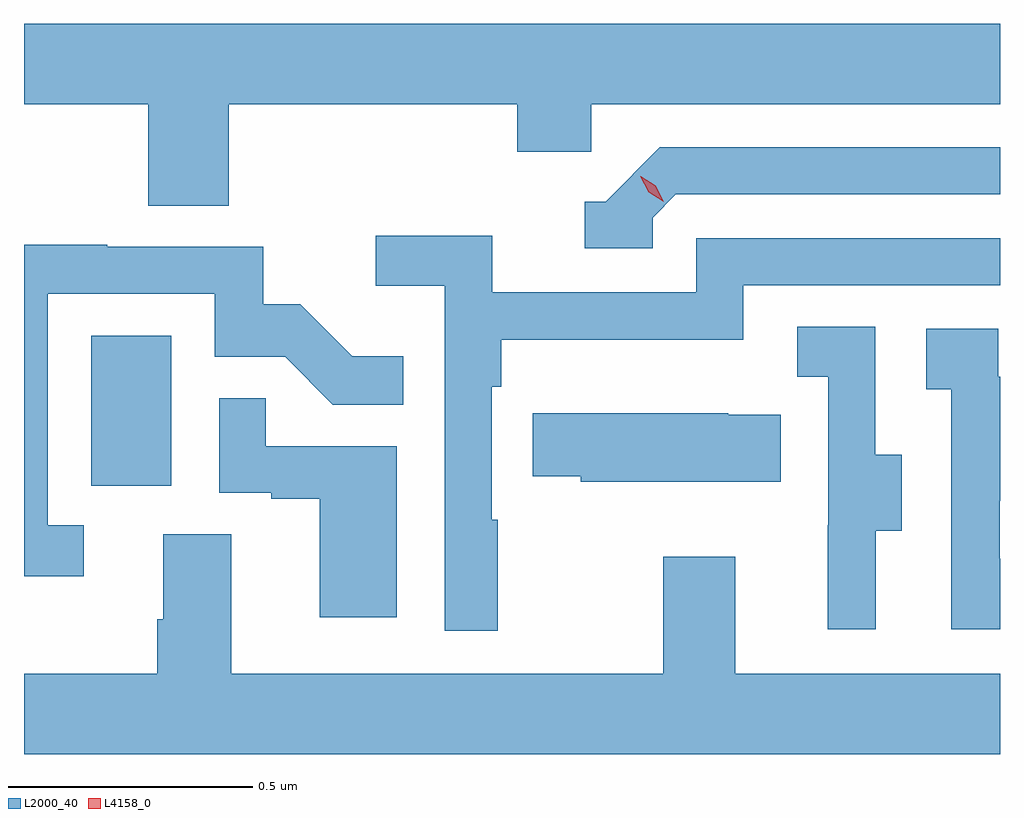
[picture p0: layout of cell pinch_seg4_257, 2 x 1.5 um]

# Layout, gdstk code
import gdstk
lib = gdstk.Library(unit=1e-6, precision=1e-09)
def R(c, l, rs):  # rectangles x0, y0, x1, y1
    for r in rs: c.add(gdstk.rectangle(r[:2], r[2:], *l))
def P(c, l, *ps):  # polygons
    for p in ps: c.add(gdstk.Polygon(p, *l))
L2000_40 = (2000, 40)
L4158_0 = (4158, 0)

pinch_seg4_257 = lib.new_cell('pinch_seg4_257')
R(pinch_seg4_257, L2000_40, [(951.422,817.35,951.586,817.657)])
P(pinch_seg4_257, L2000_40, [(951.704,818.132),(952.295,818.132),(952.295,818.034),(952.446,818.034),(952.446,818.132),(953.284,818.132),(953.284,818.296),(951.284,818.296),(951.284,818.132),(951.539,818.132),(951.539,817.924),(951.704,817.924)],
  [(952.572,817.899),(952.62,817.947),(953.284,817.947),(953.284,818.043),(952.587,818.043),(952.476,817.932),(952.433,817.932),(952.433,817.836),(952.572,817.836)],
  [(952.255,817.28),(952.242,817.28),(952.242,817.553),(952.262,817.553),(952.262,817.649),(952.758,817.649),(952.758,817.761),(953.284,817.761),(953.284,817.857),(952.662,817.857),(952.662,817.746),(952.244,817.746),(952.244,817.862),(952.005,817.862),(952.005,817.76),(952.146,817.76),(952.146,817.053),(952.255,817.053)],
  [(951.406,817.269),(951.333,817.269),(951.333,817.743),(951.675,817.743),(951.675,817.614),(951.819,817.614),(951.917,817.516),(952.061,817.516),(952.061,817.615),(951.957,817.615),(951.85,817.722),(951.774,817.722),(951.774,817.839),(951.455,817.839),(951.455,817.844),(951.284,817.844),(951.284,817.164),(951.406,817.164)],
  [(953.029,817.258),(953.083,817.258),(953.083,817.413),(953.028,817.413),(953.028,817.676),(952.869,817.676),(952.869,817.573),(952.932,817.573),(952.932,817.269),(952.931,817.269),(952.931,817.056),(953.029,817.056)],
  [(953.284,817.2),(953.283,817.2),(953.283,817.319),(953.284,817.319),(953.284,817.573),(953.28,817.573),(953.28,817.671),(953.133,817.671),(953.133,817.547),(953.184,817.547),(953.184,817.056),(953.284,817.056)],
  [(952.048,817.431),(951.779,817.431),(951.779,817.529),(951.684,817.529),(951.684,817.335),(951.791,817.335),(951.791,817.323),(951.89,817.323),(951.89,817.08),(952.048,817.08)],
  [(952.835,817.495),(952.727,817.495),(952.727,817.498),(952.327,817.498),(952.327,817.369),(952.425,817.369),(952.425,817.358),(952.835,817.358)],
  [(952.594,817.204),(952.594,816.964),(951.709,816.964),(951.709,817.25),(951.569,817.25),(951.569,817.076),(951.557,817.076),(951.557,816.964),(951.284,816.964),(951.284,816.8),(953.284,816.8),(953.284,816.964),(952.741,816.964),(952.741,817.204)])
P(pinch_seg4_257, L4158_0, [(952.595,817.932),(952.564,817.951),(952.547,817.984),(952.547,817.984),(952.548,817.984),(952.579,817.965),(952.595,817.932),(952.595,817.932)])

lib.write_gds('pinch_seg4_257.gds')
